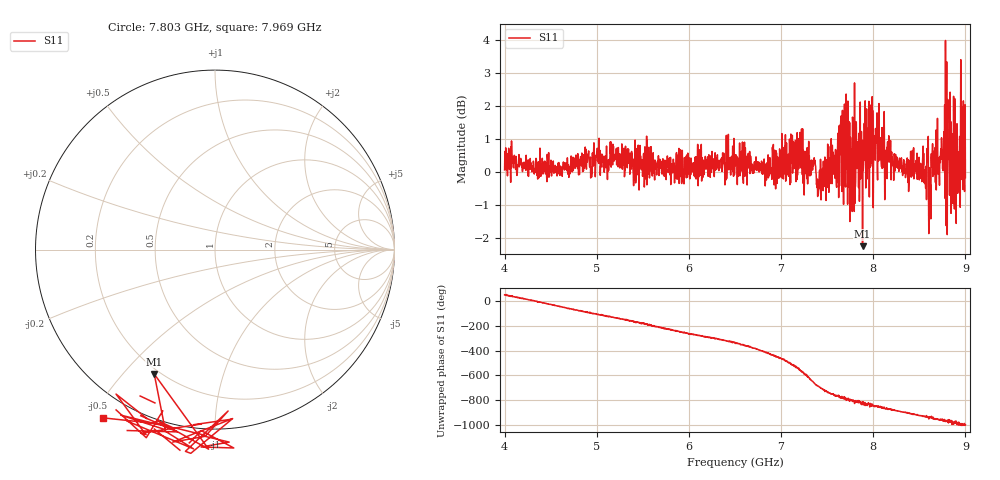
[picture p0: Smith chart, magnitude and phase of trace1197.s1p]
! Created with skrf 1.8.0 (http://scikit-rf.org).
# Hz S RI R 50.0
!freq ReS11 ImS11
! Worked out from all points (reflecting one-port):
!   1601 points, 4 GHz to 9 GHz, reference 50 ohm
!   lowest |S11| = -2.3 dB at 7.884 GHz (marker M1), VSWR 7.76, Z = 8.9 - j30.5 ohm
!   phase of S11 starts at 51 deg and turns -1050 deg over the sweep
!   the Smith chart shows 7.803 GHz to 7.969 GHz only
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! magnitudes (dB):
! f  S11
! 4 GHz  0.1
! 4.625 GHz  -0.1
! 5.25 GHz  0.1
! 5.875 GHz  0.5
! 6.5 GHz  0.4
! 6.825 GHz  -0.1
! 7.125 GHz  0.0
! 7.353 GHz  0.3
! 7.409 GHz  -0.5
! 7.609 GHz  -0.3
! 7.662 GHz  1.3
! 7.75 GHz  0.5
! 7.784 GHz  0.6
! 7.822 GHz  0.1
! 7.884 GHz  -2.3
! 7.928 GHz  1.9
! 7.956 GHz  -0.7
! 8.05 GHz  0.9
! 8.375 GHz  0.0
! 8.625 GHz  -1.4
! 8.656 GHz  0.6
! 8.728 GHz  0.3
! 8.788 GHz  -0.6
! 8.841 GHz  1.5
! 8.894 GHz  0.1
! 8.919 GHz  -0.6
! 8.972 GHz  0.7
! 9 GHz  -0.2
